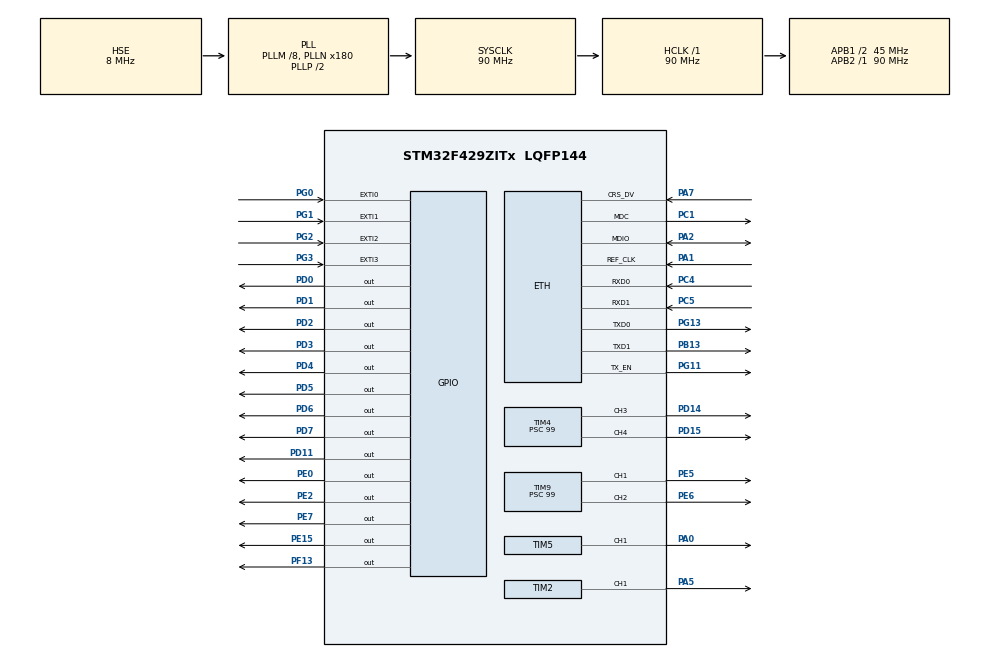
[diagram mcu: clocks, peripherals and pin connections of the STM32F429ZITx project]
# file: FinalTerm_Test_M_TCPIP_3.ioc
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ETH.MediaInterface=HAL_ETH_RMII_MODE
LWIP.BSP.number=1
LWIP.GATEWAY_ADDRESS=172.030.001.254
LWIP.IP_ADDRESS=172.030.001.025
LWIP.LWIP_DHCP=0
LWIP.NETMASK_ADDRESS=255.255.255.000
LWIP.Version=v2.1.2_Cube
LWIP0.BSP.STBoard=false
LWIP0.BSP.api=BSP_COMPONENT_DRIVER
LWIP0.BSP.component=LAN8742
LWIP0.BSP.instance=LAN8742
LWIP0.BSP.name=Driver_PHY
LWIP0.BSP.semaphore=S_LAN8742
LWIP0.BSP.solution=LAN8742
Mcu.Family=STM32F4
Mcu.Name=STM32F429ZITx
Mcu.Package=LQFP144
NVIC.EXTI0_IRQn=true\:0\:0\:false\:false\:true\:true\:true\:true
NVIC.EXTI1_IRQn=true\:0\:0\:false\:false\:true\:true\:true\:true
NVIC.EXTI2_IRQn=true\:0\:0\:false\:false\:true\:true\:true\:true
NVIC.EXTI3_IRQn=true\:0\:0\:false\:false\:true\:true\:true\:true
NVIC.PriorityGroup=NVIC_PRIORITYGROUP_4
NVIC.TIM1_BRK_TIM9_IRQn=true\:0\:0\:false\:false\:true\:true\:true\:true
NVIC.TIM1_UP_TIM10_IRQn=true\:0\:0\:false\:false\:true\:true\:true\:true
NVIC.TIM2_IRQn=true\:0\:0\:false\:false\:true\:true\:true\:true
NVIC.TIM4_IRQn=true\:0\:0\:false\:false\:true\:true\:true\:true
NVIC.TIM5_IRQn=true\:0\:0\:false\:false\:true\:true\:true\:true
PA0/WKUP.Signal=S_TIM5_CH1
PA1.Mode=RMII
PA1.Signal=ETH_REF_CLK
PA13.Mode=Serial_Wire
PA13.Signal=SYS_JTMS-SWDIO
PA14.Mode=Serial_Wire
PA14.Signal=SYS_JTCK-SWCLK
PA2.Mode=RMII
PA2.Signal=ETH_MDIO
PA5.Signal=S_TIM2_CH1_ETR
PA7.Mode=RMII
PA7.Signal=ETH_CRS_DV
PB13.Mode=RMII
PB13.Signal=ETH_TXD1
PC1.Mode=RMII
PC1.Signal=ETH_MDC
PC4.Mode=RMII
PC4.Signal=ETH_RXD0
PC5.Mode=RMII
PC5.Signal=ETH_RXD1
PD0.GPIO_ModeDefaultOutputPP=GPIO_MODE_OUTPUT_PP
PD0.GPIO_PuPd=GPIO_PULLUP
PD0.GPIO_Speed=GPIO_SPEED_FREQ_HIGH
PD0.PinState=GPIO_PIN_RESET
PD0.Signal=GPIO_Output
PD1.GPIO_ModeDefaultOutputPP=GPIO_MODE_OUTPUT_PP
PD1.GPIO_PuPd=GPIO_PULLUP
PD1.GPIO_Speed=GPIO_SPEED_FREQ_HIGH
PD1.PinState=GPIO_PIN_RESET
PD1.Signal=GPIO_Output
PD11.GPIO_PuPd=GPIO_PULLUP
PD11.GPIO_Speed=GPIO_SPEED_FREQ_HIGH
PD11.Signal=GPIO_Output
PD14.Signal=S_TIM4_CH3
PD15.Signal=S_TIM4_CH4
PD2.GPIO_ModeDefaultOutputPP=GPIO_MODE_OUTPUT_PP
PD2.GPIO_PuPd=GPIO_PULLUP
PD2.GPIO_Speed=GPIO_SPEED_FREQ_HIGH
PD2.PinState=GPIO_PIN_RESET
PD2.Signal=GPIO_Output
PD3.GPIO_ModeDefaultOutputPP=GPIO_MODE_OUTPUT_PP
PD3.GPIO_PuPd=GPIO_PULLUP
PD3.GPIO_Speed=GPIO_SPEED_FREQ_HIGH
PD3.PinState=GPIO_PIN_RESET
PD3.Signal=GPIO_Output
PD4.GPIO_PuPd=GPIO_PULLUP
PD4.GPIO_Speed=GPIO_SPEED_FREQ_HIGH
PD4.Signal=GPIO_Output
PD5.GPIO_ModeDefaultOutputPP=GPIO_MODE_OUTPUT_PP
PD5.GPIO_PuPd=GPIO_PULLUP
PD5.GPIO_Speed=GPIO_SPEED_FREQ_HIGH
PD5.PinState=GPIO_PIN_RESET
PD5.Signal=GPIO_Output
PD6.GPIO_ModeDefaultOutputPP=GPIO_MODE_OUTPUT_PP
PD6.GPIO_PuPd=GPIO_PULLUP
PD6.GPIO_Speed=GPIO_SPEED_FREQ_HIGH
PD6.PinState=GPIO_PIN_RESET
PD6.Signal=GPIO_Output
PD7.GPIO_ModeDefaultOutputPP=GPIO_MODE_OUTPUT_PP
PD7.GPIO_PuPd=GPIO_PULLUP
PD7.GPIO_Speed=GPIO_SPEED_FREQ_HIGH
PD7.PinState=GPIO_PIN_RESET
PD7.Signal=GPIO_Output
PE0.GPIO_ModeDefaultOutputPP=GPIO_MODE_OUTPUT_PP
PE0.GPIO_PuPd=GPIO_PULLUP
PE0.GPIO_Speed=GPIO_SPEED_FREQ_HIGH
PE0.PinState=GPIO_PIN_RESET
PE0.Signal=GPIO_Output
PE15.GPIO_ModeDefaultOutputPP=GPIO_MODE_OUTPUT_PP
PE15.GPIO_PuPd=GPIO_PULLUP
PE15.GPIO_Speed=GPIO_SPEED_FREQ_HIGH
PE15.PinState=GPIO_PIN_RESET
PE15.Signal=GPIO_Output
PE2.GPIO_PuPd=GPIO_PULLUP
PE2.GPIO_Speed=GPIO_SPEED_FREQ_HIGH
PE2.PinState=GPIO_PIN_RESET
PE2.Signal=GPIO_Output
PE5.Signal=S_TIM9_CH1
PE6.Signal=S_TIM9_CH2
PE7.GPIO_ModeDefaultOutputPP=GPIO_MODE_OUTPUT_PP
PE7.GPIO_PuPd=GPIO_PULLUP
PE7.GPIO_Speed=GPIO_SPEED_FREQ_HIGH
PE7.PinState=GPIO_PIN_RESET
PE7.Signal=GPIO_Output
PF13.GPIO_PuPd=GPIO_PULLUP
PF13.GPIO_Speed=GPIO_SPEED_FREQ_HIGH
PF13.Signal=GPIO_Output
PG0.GPIO_ModeDefaultEXTI=GPIO_MODE_IT_FALLING
PG0.GPIO_PuPd=GPIO_NOPULL
PG0.Signal=GPXTI0
PG1.GPIO_ModeDefaultEXTI=GPIO_MODE_IT_FALLING
PG1.GPIO_PuPd=GPIO_NOPULL
PG1.Signal=GPXTI1
PG11.Mode=RMII
PG11.Signal=ETH_TX_EN
PG13.Mode=RMII
PG13.Signal=ETH_TXD0
PG2.GPIO_ModeDefaultEXTI=GPIO_MODE_IT_FALLING
PG2.GPIO_PuPd=GPIO_NOPULL
PG2.Signal=GPXTI2
PG3.GPIO_ModeDefaultEXTI=GPIO_MODE_IT_FALLING
PG3.GPIO_PuPd=GPIO_NOPULL
PG3.Signal=GPXTI3
PH0/OSC_IN.Mode=HSE-External-Clock-Source
PH0/OSC_IN.Signal=RCC_OSC_IN
PH1/OSC_OUT.Mode=HSE-External-Clock-Source
PH1/OSC_OUT.Signal=RCC_OSC_OUT
ProjectManager.HeapSize=0x200
ProjectManager.StackSize=0x400
ProjectManager.TargetToolchain=STM32CubeIDE
RCC.48MHZClocksFreq_Value=45000000
RCC.AHBFreq_Value=90000000
RCC.APB1CLKDivider=RCC_HCLK_DIV2
RCC.APB1Freq_Value=45000000
RCC.APB1TimFreq_Value=90000000
RCC.APB2Freq_Value=90000000
RCC.APB2TimFreq_Value=90000000
RCC.CortexFreq_Value=90000000
RCC.HCLKFreq_Value=90000000
RCC.HSE_VALUE=8000000
RCC.HSI_VALUE=16000000
RCC.LSE_VALUE=32768
RCC.PLLM=8
RCC.PLLN=180
RCC.PLLSourceVirtual=RCC_PLLSOURCE_HSE
RCC.SYSCLKFreq_VALUE=90000000
RCC.SYSCLKSource=RCC_SYSCLKSOURCE_PLLCLK
RCC.VCOOutputFreq_Value=180000000
SH.S_TIM2_CH1_ETR.0=TIM2_CH1,PWM Generation1 CH1
SH.S_TIM4_CH3.0=TIM4_CH3,PWM Generation3 CH3
SH.S_TIM4_CH4.0=TIM4_CH4,PWM Generation4 CH4
SH.S_TIM5_CH1.0=TIM5_CH1,PWM Generation1 CH1
SH.S_TIM9_CH1.0=TIM9_CH1,PWM Generation1 CH1
SH.S_TIM9_CH2.0=TIM9_CH2,PWM Generation2 CH2
TIM10.Period=9999
TIM10.Prescaler=8999
TIM2.Channel-PWM\ Generation1\ CH1=TIM_CHANNEL_1
TIM2.Period=999
TIM2.Prescaler=8999
TIM2.Pulse-PWM\ Generation1\ CH1=499
TIM4.Channel-PWM\ Generation3\ CH3=TIM_CHANNEL_3
TIM4.Channel-PWM\ Generation4\ CH4=TIM_CHANNEL_4
TIM4.Period=999
TIM4.Prescaler=99
TIM4.Pulse-PWM\ Generation3\ CH3=499
TIM4.Pulse-PWM\ Generation4\ CH4=499
TIM5.Channel-PWM\ Generation1\ CH1=TIM_CHANNEL_1
TIM5.Period=99
TIM5.Prescaler=8999
TIM5.Pulse-PWM\ Generation1\ CH1=49
TIM9.Channel-PWM\ Generation1\ CH1=TIM_CHANNEL_1
TIM9.Channel-PWM\ Generation2\ CH2=TIM_CHANNEL_2
TIM9.Period=999
TIM9.Prescaler=99
TIM9.Pulse-PWM\ Generation1\ CH1=499
TIM9.Pulse-PWM\ Generation2\ CH2=499
VP_LWIP_VS_Enabled.Mode=Enabled
VP_TIM10_VS_ClockSourceINT.Mode=Enable_Timer
VP_TIM2_VS_ClockSourceINT.Mode=Internal
VP_TIM4_VS_ClockSourceINT.Mode=Internal
VP_TIM5_VS_ClockSourceINT.Mode=Internal
VP_TIM9_VS_ClockSourceINT.Mode=Internal
board=custom

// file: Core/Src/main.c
/* USER CODE BEGIN Header */
/**
  ******************************************************************************
  * @file           : main.c
  * @brief          : Main program body
  ******************************************************************************
  * @attention
  *
  * Copyright (c) 2023 STMicroelectronics.
  * All rights reserved.
  *
  * This software is licensed under terms that can be found in the LICENSE file
  * in the root directory of this software component.
  * If no LICENSE file comes with this software, it is provided AS-IS.
  *
  ******************************************************************************
  */
/* USER CODE END Header */
#include "main.h"
#include "lwip.h"

/* USER CODE BEGIN Includes */

#include "tcp_echoclient.h"

/* USER CODE END Includes */

TIM_HandleTypeDef htim2;
TIM_HandleTypeDef htim4;
TIM_HandleTypeDef htim5;
TIM_HandleTypeDef htim9;
TIM_HandleTypeDef htim10;

/* USER CODE BEGIN PV */

struct netif gnetif;

/* USER CODE END PV */

void SystemClock_Config(void);
static void MX_GPIO_Init(void);
static void MX_TIM2_Init(void);
static void MX_TIM5_Init(void);
static void MX_TIM9_Init(void);
static void MX_TIM4_Init(void);
static void MX_TIM10_Init(void);
/* USER CODE BEGIN PFP */

void LED_OnOff(int, int);
void User_notification(struct netif *netif);

/* USER CODE END PFP */

int main(void)
{

  /* MCU Configuration--------------------------------------------------------*/

  /* Reset of all peripherals, Initializes the Flash interface and the Systick. */
  HAL_Init();

  /* USER CODE BEGIN Init */

  int Buzzer_flag = 0;

  /* USER CODE END Init */

  /* Configure the system clock */
  SystemClock_Config();

  /* Initialize all configured peripherals */
  MX_GPIO_Init();
  MX_TIM2_Init();
  MX_TIM5_Init();
  MX_TIM9_Init();
  MX_TIM4_Init();
  MX_LWIP_Init();
  MX_TIM10_Init();
  /* USER CODE BEGIN 2 */

  LED_OnOff(LED_ALL, 500);
  HAL_TIM_Base_Start(&htim2);
  HAL_TIM_PWM_Start(&htim2, TIM_CHANNEL_1);
// HAL_TIM_Base_Start(&htim5);
//  HAL_TIM_PWM_Start(&htim5, TIM_CHANNEL_1);
  /*
  HAL_TIM_Base_Start(&htim9);
  HAL_TIM_PWM_Start(&htim9, TIM_CHANNEL_1);
  HAL_TIM_PWM_Start(&htim9, TIM_CHANNEL_2);
  HAL_TIM_Base_Start(&htim4);
  HAL_TIM_PWM_Start(&htim4, TIM_CHANNEL_3);
  HAL_TIM_PWM_Start(&htim4, TIM_CHANNEL_4);
*/

  HAL_GPIO_WritePin(GPIOE, GPIO_PIN_15, 1);
  HAL_GPIO_WritePin(GPIOE, GPIO_PIN_7, 1);
  HAL_GPIO_WritePin(GPIOE, GPIO_PIN_0, 0);
  HAL_GPIO_WritePin(GPIOD, GPIO_PIN_11, 1);
  HAL_GPIO_WritePin(GPIOF, GPIO_PIN_13, 1);
  HAL_GPIO_WritePin(GPIOE, GPIO_PIN_2, 0);

  User_notification(&gnetif);
  tcp_echoclient_connect();

  /* USER CODE END 2 */

  /* Infinite loop */
  /* USER CODE BEGIN WHILE */
  while (1)
  {
	  MX_LWIP_Process();

	  if(message_flag==1)
	  {
		  if(mfront == 1)	{
				HAL_GPIO_TogglePin(GPIO_LED, LED1);
				HAL_TIM_PWM_Start(&htim9, TIM_CHANNEL_2);
				HAL_TIM_PWM_Stop(&htim9, TIM_CHANNEL_1);
				HAL_TIM_PWM_Start(&htim4, TIM_CHANNEL_4);
				HAL_TIM_PWM_Stop(&htim4, TIM_CHANNEL_3);
			}
		  else if(mback == 1)	{
				HAL_GPIO_TogglePin(GPIO_LED, LED2);
				HAL_TIM_PWM_Start(&htim9, TIM_CHANNEL_1);
				HAL_TIM_PWM_Stop(&htim9, TIM_CHANNEL_2);
				HAL_TIM_PWM_Start(&htim4, TIM_CHANNEL_3);
				HAL_TIM_PWM_Stop(&htim4, TIM_CHANNEL_4);
			}
		  else if(mleft == 1)	{
				HAL_GPIO_TogglePin(GPIO_LED, LED3);
				HAL_TIM_PWM_Start(&htim9, TIM_CHANNEL_2);
				HAL_TIM_PWM_Stop(&htim9, TIM_CHANNEL_1);
				HAL_TIM_PWM_Start(&htim4, TIM_CHANNEL_3);
				HAL_TIM_PWM_Stop(&htim4, TIM_CHANNEL_4);
			}
		  else if(mright == 1)	{
				HAL_GPIO_TogglePin(GPIO_LED, LED4);
				HAL_TIM_PWM_Start(&htim9, TIM_CHANNEL_1);
				HAL_TIM_PWM_Stop(&htim9, TIM_CHANNEL_2);
				HAL_TIM_PWM_Start(&htim4, TIM_CHANNEL_4);
				HAL_TIM_PWM_Stop(&htim4, TIM_CHANNEL_3);
			}
		  else if(mstop == 1)	{
				HAL_GPIO_TogglePin(GPIO_LED, LED5);
//			  	HAL_GPIO_WritePin(GPIOF, GPIO_PIN_13, 0);

				HAL_TIM_PWM_Stop(&htim9, TIM_CHANNEL_1);
				HAL_TIM_PWM_Stop(&htim9, TIM_CHANNEL_2);
				HAL_TIM_PWM_Stop(&htim4, TIM_CHANNEL_3);
				HAL_TIM_PWM_Stop(&htim4, TIM_CHANNEL_4);
			}

		  message_flag=0;
	  }
	  if(mEmer == 1)	{
			HAL_GPIO_WritePin(GPIOE, GPIO_PIN_2, 1);
		}
	  else if(mEmer == 0)	{
			HAL_GPIO_WritePin(GPIOE, GPIO_PIN_2, 0);

	  }

    /* USER CODE END WHILE */

  }
}

void SystemClock_Config(void)
{
  RCC_OscInitTypeDef RCC_OscInitStruct = {0};
  RCC_ClkInitTypeDef RCC_ClkInitStruct = {0};

  /** Configure the main internal regulator output voltage
  */
  __HAL_RCC_PWR_CLK_ENABLE();
  __HAL_PWR_VOLTAGESCALING_CONFIG(PWR_REGULATOR_VOLTAGE_SCALE3);

  /** Initializes the RCC Oscillators according to the specified parameters
  * in the RCC_OscInitTypeDef structure.
  */
  RCC_OscInitStruct.OscillatorType = RCC_OSCILLATORTYPE_HSE;
  RCC_OscInitStruct.HSEState = RCC_HSE_BYPASS;
  RCC_OscInitStruct.PLL.PLLState = RCC_PLL_ON;
  RCC_OscInitStruct.PLL.PLLSource = RCC_PLLSOURCE_HSE;
  RCC_OscInitStruct.PLL.PLLM = 8;
  RCC_OscInitStruct.PLL.PLLN = 180;
  RCC_OscInitStruct.PLL.PLLP = RCC_PLLP_DIV2;
  RCC_OscInitStruct.PLL.PLLQ = 4;
  if (HAL_RCC_OscConfig(&RCC_OscInitStruct) != HAL_OK)
  {
    Error_Handler();
  }

  /** Activate the Over-Drive mode
  */
  if (HAL_PWREx_EnableOverDrive() != HAL_OK)
  {
    Error_Handler();
  }

  /** Initializes the CPU, AHB and APB buses clocks
  */
  RCC_ClkInitStruct.ClockType = RCC_CLOCKTYPE_HCLK|RCC_CLOCKTYPE_SYSCLK
                              |RCC_CLOCKTYPE_PCLK1|RCC_CLOCKTYPE_PCLK2;
  RCC_ClkInitStruct.SYSCLKSource = RCC_SYSCLKSOURCE_PLLCLK;
  RCC_ClkInitStruct.AHBCLKDivider = RCC_SYSCLK_DIV1;
  RCC_ClkInitStruct.APB1CLKDivider = RCC_HCLK_DIV2;
  RCC_ClkInitStruct.APB2CLKDivider = RCC_HCLK_DIV1;

  if (HAL_RCC_ClockConfig(&RCC_ClkInitStruct, FLASH_LATENCY_2) != HAL_OK)
  {
    Error_Handler();
  }
}

static void MX_TIM2_Init(void)
{

  TIM_ClockConfigTypeDef sClockSourceConfig = {0};
  TIM_MasterConfigTypeDef sMasterConfig = {0};
  TIM_OC_InitTypeDef sConfigOC = {0};

  htim2.Instance = TIM2;
  htim2.Init.Prescaler = 8999;
  htim2.Init.CounterMode = TIM_COUNTERMODE_UP;
  htim2.Init.Period = 999;
  htim2.Init.ClockDivision = TIM_CLOCKDIVISION_DIV1;
  htim2.Init.AutoReloadPreload = TIM_AUTORELOAD_PRELOAD_DISABLE;
  if (HAL_TIM_Base_Init(&htim2) != HAL_OK)
  {
    Error_Handler();
  }
  sClockSourceConfig.ClockSource = TIM_CLOCKSOURCE_INTERNAL;
  if (HAL_TIM_ConfigClockSource(&htim2, &sClockSourceConfig) != HAL_OK)
  {
    Error_Handler();
  }
  if (HAL_TIM_PWM_Init(&htim2) != HAL_OK)
  {
    Error_Handler();
  }
  sMasterConfig.MasterOutputTrigger = TIM_TRGO_RESET;
  sMasterConfig.MasterSlaveMode = TIM_MASTERSLAVEMODE_DISABLE;
  if (HAL_TIMEx_MasterConfigSynchronization(&htim2, &sMasterConfig) != HAL_OK)
  {
    Error_Handler();
  }
  sConfigOC.OCMode = TIM_OCMODE_PWM1;
  sConfigOC.Pulse = 499;
  sConfigOC.OCPolarity = TIM_OCPOLARITY_HIGH;
  sConfigOC.OCFastMode = TIM_OCFAST_DISABLE;
  if (HAL_TIM_PWM_ConfigChannel(&htim2, &sConfigOC, TIM_CHANNEL_1) != HAL_OK)
  {
    Error_Handler();
  }
  HAL_TIM_MspPostInit(&htim2);

}

static void MX_TIM4_Init(void)
{

  TIM_ClockConfigTypeDef sClockSourceConfig = {0};
  TIM_MasterConfigTypeDef sMasterConfig = {0};
  TIM_OC_InitTypeDef sConfigOC = {0};

  htim4.Instance = TIM4;
  htim4.Init.Prescaler = 99;
  htim4.Init.CounterMode = TIM_COUNTERMODE_UP;
  htim4.Init.Period = 999;
  htim4.Init.ClockDivision = TIM_CLOCKDIVISION_DIV1;
  htim4.Init.AutoReloadPreload = TIM_AUTORELOAD_PRELOAD_DISABLE;
  if (HAL_TIM_Base_Init(&htim4) != HAL_OK)
  {
    Error_Handler();
  }
  sClockSourceConfig.ClockSource = TIM_CLOCKSOURCE_INTERNAL;
  if (HAL_TIM_ConfigClockSource(&htim4, &sClockSourceConfig) != HAL_OK)
  {
    Error_Handler();
  }
  if (HAL_TIM_PWM_Init(&htim4) != HAL_OK)
  {
    Error_Handler();
  }
  sMasterConfig.MasterOutputTrigger = TIM_TRGO_RESET;
  sMasterConfig.MasterSlaveMode = TIM_MASTERSLAVEMODE_DISABLE;
  if (HAL_TIMEx_MasterConfigSynchronization(&htim4, &sMasterConfig) != HAL_OK)
  {
    Error_Handler();
  }
  sConfigOC.OCMode = TIM_OCMODE_PWM1;
  sConfigOC.Pulse = 499;
  sConfigOC.OCPolarity = TIM_OCPOLARITY_HIGH;
  sConfigOC.OCFastMode = TIM_OCFAST_DISABLE;
  if (HAL_TIM_PWM_ConfigChannel(&htim4, &sConfigOC, TIM_CHANNEL_3) != HAL_OK)
  {
    Error_Handler();
  }
  if (HAL_TIM_PWM_ConfigChannel(&htim4, &sConfigOC, TIM_CHANNEL_4) != HAL_OK)
  {
    Error_Handler();
  }
  HAL_TIM_MspPostInit(&htim4);

}

static void MX_TIM5_Init(void)
{

  TIM_ClockConfigTypeDef sClockSourceConfig = {0};
  TIM_MasterConfigTypeDef sMasterConfig = {0};
  TIM_OC_InitTypeDef sConfigOC = {0};

  htim5.Instance = TIM5;
  htim5.Init.Prescaler = 8999;
  htim5.Init.CounterMode = TIM_COUNTERMODE_UP;
  htim5.Init.Period = 99;
  htim5.Init.ClockDivision = TIM_CLOCKDIVISION_DIV1;
  htim5.Init.AutoReloadPreload = TIM_AUTORELOAD_PRELOAD_DISABLE;
  if (HAL_TIM_Base_Init(&htim5) != HAL_OK)
  {
    Error_Handler();
  }
  sClockSourceConfig.ClockSource = TIM_CLOCKSOURCE_INTERNAL;
  if (HAL_TIM_ConfigClockSource(&htim5, &sClockSourceConfig) != HAL_OK)
  {
    Error_Handler();
  }
  if (HAL_TIM_PWM_Init(&htim5) != HAL_OK)
  {
    Error_Handler();
  }
  sMasterConfig.MasterOutputTrigger = TIM_TRGO_RESET;
  sMasterConfig.MasterSlaveMode = TIM_MASTERSLAVEMODE_DISABLE;
  if (HAL_TIMEx_MasterConfigSynchronization(&htim5, &sMasterConfig) != HAL_OK)
  {
    Error_Handler();
  }
  sConfigOC.OCMode = TIM_OCMODE_PWM1;
  sConfigOC.Pulse = 49;
  sConfigOC.OCPolarity = TIM_OCPOLARITY_HIGH;
  sConfigOC.OCFastMode = TIM_OCFAST_DISABLE;
  if (HAL_TIM_PWM_ConfigChannel(&htim5, &sConfigOC, TIM_CHANNEL_1) != HAL_OK)
  {
    Error_Handler();
  }
  HAL_TIM_MspPostInit(&htim5);

}

static void MX_TIM9_Init(void)
{

  TIM_ClockConfigTypeDef sClockSourceConfig = {0};
  TIM_OC_InitTypeDef sConfigOC = {0};

  htim9.Instance = TIM9;
  htim9.Init.Prescaler = 99;
  htim9.Init.CounterMode = TIM_COUNTERMODE_UP;
  htim9.Init.Period = 999;
  htim9.Init.ClockDivision = TIM_CLOCKDIVISION_DIV1;
  htim9.Init.AutoReloadPreload = TIM_AUTORELOAD_PRELOAD_DISABLE;
  if (HAL_TIM_Base_Init(&htim9) != HAL_OK)
  {
    Error_Handler();
  }
  sClockSourceConfig.ClockSource = TIM_CLOCKSOURCE_INTERNAL;
  if (HAL_TIM_ConfigClockSource(&htim9, &sClockSourceConfig) != HAL_OK)
  {
    Error_Handler();
  }
  if (HAL_TIM_PWM_Init(&htim9) != HAL_OK)
  {
    Error_Handler();
  }
  sConfigOC.OCMode = TIM_OCMODE_PWM1;
  sConfigOC.Pulse = 499;
  sConfigOC.OCPolarity = TIM_OCPOLARITY_HIGH;
  sConfigOC.OCFastMode = TIM_OCFAST_DISABLE;
  if (HAL_TIM_PWM_ConfigChannel(&htim9, &sConfigOC, TIM_CHANNEL_1) != HAL_OK)
  {
    Error_Handler();
  }
  if (HAL_TIM_PWM_ConfigChannel(&htim9, &sConfigOC, TIM_CHANNEL_2) != HAL_OK)
  {
    Error_Handler();
  }
  HAL_TIM_MspPostInit(&htim9);

}

static void MX_TIM10_Init(void)
{

  htim10.Instance = TIM10;
  htim10.Init.Prescaler = 8999;
  htim10.Init.CounterMode = TIM_COUNTERMODE_UP;
  htim10.Init.Period = 9999;
  htim10.Init.ClockDivision = TIM_CLOCKDIVISION_DIV1;
  htim10.Init.AutoReloadPreload = TIM_AUTORELOAD_PRELOAD_DISABLE;
  if (HAL_TIM_Base_Init(&htim10) != HAL_OK)
  {
    Error_Handler();
  }

}

static void MX_GPIO_Init(void)
{
  GPIO_InitTypeDef GPIO_InitStruct = {0};

  /* GPIO Ports Clock Enable */
  __HAL_RCC_GPIOE_CLK_ENABLE();
  __HAL_RCC_GPIOH_CLK_ENABLE();
  __HAL_RCC_GPIOC_CLK_ENABLE();
  __HAL_RCC_GPIOA_CLK_ENABLE();
  __HAL_RCC_GPIOF_CLK_ENABLE();
  __HAL_RCC_GPIOG_CLK_ENABLE();
  __HAL_RCC_GPIOB_CLK_ENABLE();
  __HAL_RCC_GPIOD_CLK_ENABLE();

  /*Configure GPIO pin Output Level */
  HAL_GPIO_WritePin(GPIOE, GPIO_PIN_2|GPIO_PIN_7|GPIO_PIN_15|GPIO_PIN_0, GPIO_PIN_RESET);

  /*Configure GPIO pin Output Level */
  HAL_GPIO_WritePin(GPIOF, GPIO_PIN_13, GPIO_PIN_RESET);

  /*Configure GPIO pin Output Level */
  HAL_GPIO_WritePin(GPIOD, GPIO_PIN_11|GPIO_PIN_0|GPIO_PIN_1|GPIO_PIN_2
                          |GPIO_PIN_3|GPIO_PIN_4|GPIO_PIN_5|GPIO_PIN_6
                          |GPIO_PIN_7, GPIO_PIN_RESET);

  /*Configure GPIO pins : PE2 PE7 PE15 PE0 */
  GPIO_InitStruct.Pin = GPIO_PIN_2|GPIO_PIN_7|GPIO_PIN_15|GPIO_PIN_0;
  GPIO_InitStruct.Mode = GPIO_MODE_OUTPUT_PP;
  GPIO_InitStruct.Pull = GPIO_PULLUP;
  GPIO_InitStruct.Speed = GPIO_SPEED_FREQ_HIGH;
  HAL_GPIO_Init(GPIOE, &GPIO_InitStruct);

  /*Configure GPIO pin : PF13 */
  GPIO_InitStruct.Pin = GPIO_PIN_13;
  GPIO_InitStruct.Mode = GPIO_MODE_OUTPUT_PP;
  GPIO_InitStruct.Pull = GPIO_PULLUP;
  GPIO_InitStruct.Speed = GPIO_SPEED_FREQ_HIGH;
  HAL_GPIO_Init(GPIOF, &GPIO_InitStruct);

  /*Configure GPIO pins : PG0 PG1 PG2 PG3 */
  GPIO_InitStruct.Pin = GPIO_PIN_0|GPIO_PIN_1|GPIO_PIN_2|GPIO_PIN_3;
  GPIO_InitStruct.Mode = GPIO_MODE_IT_FALLING;
  GPIO_InitStruct.Pull = GPIO_NOPULL;
  HAL_GPIO_Init(GPIOG, &GPIO_InitStruct);

  /*Configure GPIO pins : PD11 PD0 PD1 PD2
                           PD3 PD4 PD5 PD6
                           PD7 */
  GPIO_InitStruct.Pin = GPIO_PIN_11|GPIO_PIN_0|GPIO_PIN_1|GPIO_PIN_2
                          |GPIO_PIN_3|GPIO_PIN_4|GPIO_PIN_5|GPIO_PIN_6
                          |GPIO_PIN_7;
  GPIO_InitStruct.Mode = GPIO_MODE_OUTPUT_PP;
  GPIO_InitStruct.Pull = GPIO_PULLUP;
  GPIO_InitStruct.Speed = GPIO_SPEED_FREQ_HIGH;
  HAL_GPIO_Init(GPIOD, &GPIO_InitStruct);

  /* EXTI interrupt init*/
  HAL_NVIC_SetPriority(EXTI0_IRQn, 0, 0);
  HAL_NVIC_EnableIRQ(EXTI0_IRQn);

  HAL_NVIC_SetPriority(EXTI1_IRQn, 0, 0);
  HAL_NVIC_EnableIRQ(EXTI1_IRQn);

  HAL_NVIC_SetPriority(EXTI2_IRQn, 0, 0);
  HAL_NVIC_EnableIRQ(EXTI2_IRQn);

  HAL_NVIC_SetPriority(EXTI3_IRQn, 0, 0);
  HAL_NVIC_EnableIRQ(EXTI3_IRQn);

}

/* USER CODE BEGIN 4 */

void LED_OnOff(int led, int interval)
{
	HAL_GPIO_WritePin(GPIO_LED, led, GPIO_PIN_SET );
	HAL_GPIO_WritePin(GPIO_LED_Nucleo, led, GPIO_PIN_SET );
	HAL_Delay(interval);
	HAL_GPIO_WritePin(GPIO_LED, led, GPIO_PIN_RESET );
	HAL_GPIO_WritePin(GPIO_LED_Nucleo, led, GPIO_PIN_RESET );
}

void User_notification(struct netif *netif)
{
	if (netif_is_up(netif)) {
		HAL_GPIO_WritePin(GPIO_LED, LED7, GPIO_PIN_SET);
	}
	else {
		HAL_GPIO_WritePin(GPIO_LED, LED8, GPIO_PIN_SET);
	}
}
/*
void HAL_GPIO_EXTI_Callback(uint16_t GPIO_PIN)
{*/
/*	TIM_OC_InitTypeDef sConfigOC_PWM = {0} ;
	sConfigOC_PWM.OCMode = TIM_OCMODE_PWM1;
	if ( GPIO_PIN == SW1) sConfigOC_PWM.Pulse = 999;
	else if ( GPIO_PIN == SW2) sConfigOC_PWM.Pulse = 2999;
	else if ( GPIO_PIN == SW3) sConfigOC_PWM.Pulse = 4999;
	else if ( GPIO_PIN == SW4) sConfigOC_PWM.Pulse = 9999;
	HAL_TIM_PWM_ConfigChannel(&htim2, &sConfigOC_PWM, TIM_CHANNEL_1);
	HAL_TIM_PWM_Start(&htim2, TIM_CHANNEL_1);*/

//	int mp = 0;

//	HAL_GPIO_WritePin(GPIOE, led, GPIO_PIN_SET );

/*	HAL_GPIO_WritePin(GPIOE, GPIO_PIN_15, 1);
	HAL_GPIO_WritePin(GPIOE, GPIO_PIN_7, 1);
	HAL_GPIO_WritePin(GPIOE, GPIO_PIN_0, 0);
	HAL_GPIO_WritePin(GPIOD, GPIO_PIN_11, 1);
	HAL_GPIO_WritePin(GPIOF, GPIO_PIN_13, 1);*/

//	HAL_GPIO_

/*	if ( GPIO_PIN == SW1) mp = 999;
	else if ( GPIO_PIN == SW2) mp = 2999;
	else if ( GPIO_PIN == SW3) mp = 4999;
	else if ( GPIO_PIN == SW4) mp = 9999;*/

/*	if ( GPIO_PIN == SW1)
		{
			HAL_TIM_PWM_Start(&htim2, TIM_CHANNEL_1);
//			HAL_TIM_PWM_Start(&htim5, TIM_CHANNEL_1);
			HAL_TIM_PWM_Start(&htim9, TIM_CHANNEL_1);
			HAL_TIM_PWM_Stop(&htim9, TIM_CHANNEL_2);
			HAL_TIM_PWM_Start(&htim4, TIM_CHANNEL_3);
			HAL_TIM_PWM_Stop(&htim4, TIM_CHANNEL_4);

		}
	else if ( GPIO_PIN == SW2)
		{
//			HAL_TIM_PWM_Start(&htim2, TIM_CHANNEL_1);
			HAL_TIM_PWM_Start(&htim9, TIM_CHANNEL_2);
			HAL_TIM_PWM_Stop(&htim9, TIM_CHANNEL_1);
			HAL_TIM_PWM_Start(&htim4, TIM_CHANNEL_4);
			HAL_TIM_PWM_Stop(&htim4, TIM_CHANNEL_3);
		}
	else if ( GPIO_PIN == SW3)
		{
			HAL_TIM_PWM_Stop(&htim2, TIM_CHANNEL_1);
			HAL_TIM_PWM_Stop(&htim9, TIM_CHANNEL_1);
			HAL_TIM_PWM_Stop(&htim9, TIM_CHANNEL_2);
			HAL_TIM_PWM_Stop(&htim4, TIM_CHANNEL_3);
			HAL_TIM_PWM_Stop(&htim4, TIM_CHANNEL_4);
		}
	else if ( GPIO_PIN == SW4)
		{
			HAL_TIM_PWM_Start(&htim2, TIM_CHANNEL_1);
		}

*/

//	__HAL_TIM_SET_COMPARE(&htim2, TIM_CHANNEL_1, mp);

//	  HAL_TIM_PWM_Start(&htim2, TIM_CHANNEL_1);

//}

/* USER CODE END 4 */

void Error_Handler(void)
{
  __disable_irq();
  while (1)
  {
  }
}
